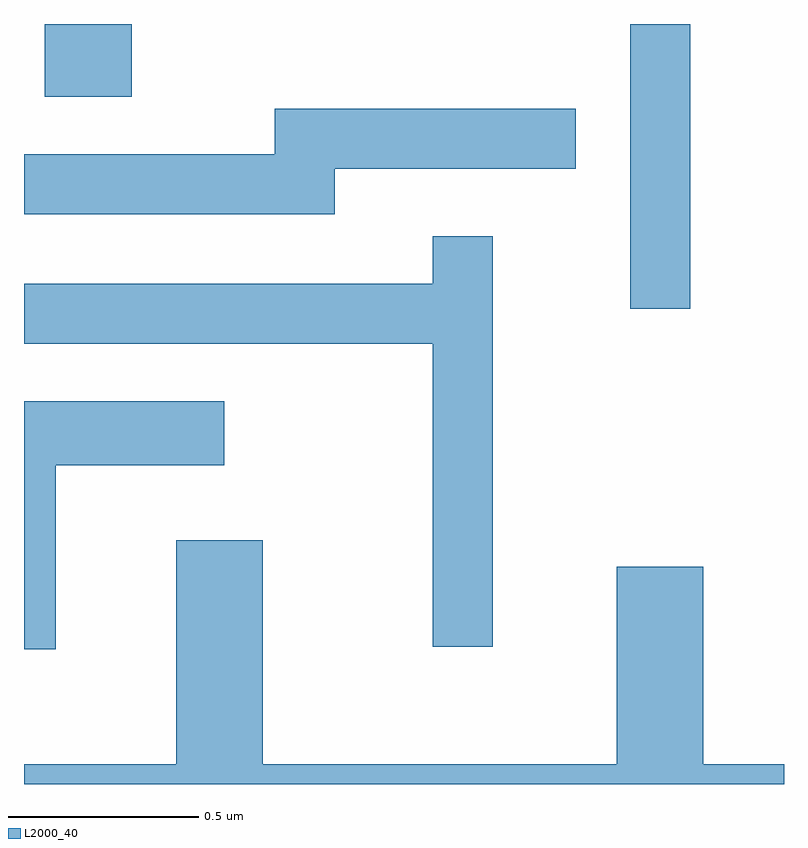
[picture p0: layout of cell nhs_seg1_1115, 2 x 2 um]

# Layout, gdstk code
import gdstk
lib = gdstk.Library(unit=1e-6, precision=1e-09)
def R(c, l, rs):  # rectangles x0, y0, x1, y1
    for r in rs: c.add(gdstk.rectangle(r[:2], r[2:], *l))
def P(c, l, *ps):  # polygons
    for p in ps: c.add(gdstk.Polygon(p, *l))
L2000_40 = (2000, 40)

nhs_seg1_1115 = lib.new_cell('nhs_seg1_1115')
R(nhs_seg1_1115, L2000_40, [(195.206,869.963,195.364,870.712), (193.666,870.521,193.894,870.712)])
P(nhs_seg1_1115, L2000_40, [(194.429,870.331),(195.063,870.331),(195.063,870.489),(194.271,870.489),(194.271,870.369),(193.611,870.369),(193.611,870.211),(194.429,870.211)],
  [(194.844,870.153),(194.686,870.153),(194.686,870.029),(193.611,870.029),(193.611,869.871),(194.686,869.871),(194.686,869.073),(194.844,869.073)],
  [(193.694,869.551),(194.138,869.551),(194.138,869.719),(193.611,869.719),(193.611,869.066),(193.694,869.066)],
  [(195.611,868.764),(195.399,868.764),(195.399,869.284),(195.171,869.284),(195.171,868.764),(194.239,868.764),(194.239,869.354),(194.011,869.354),(194.011,868.764),(193.611,868.764),(193.611,868.712),(195.611,868.712)])

lib.write_gds('nhs_seg1_1115.gds')
